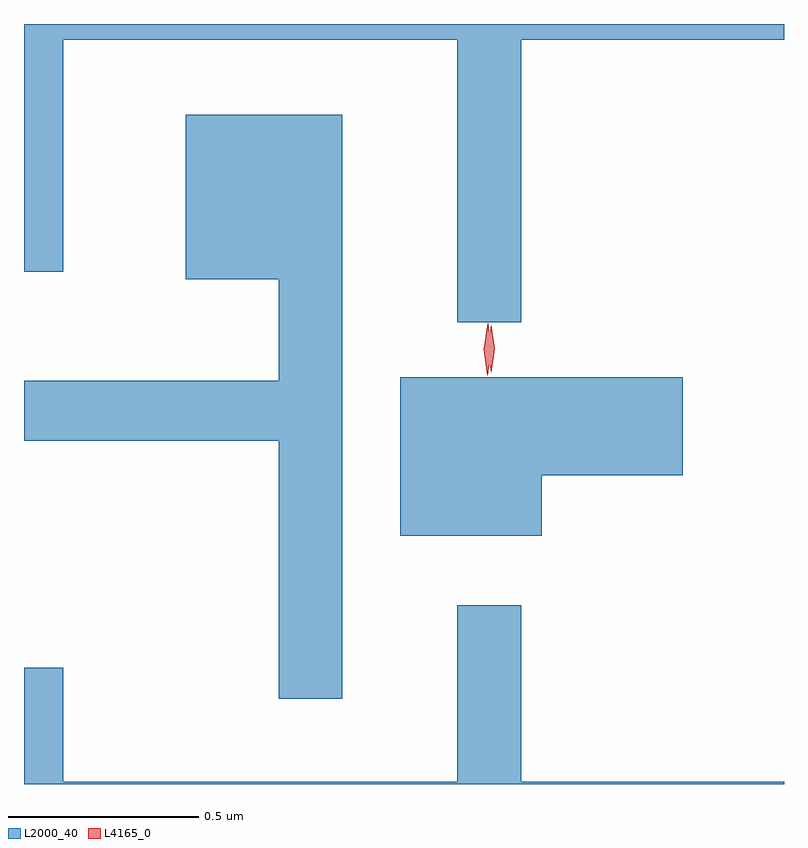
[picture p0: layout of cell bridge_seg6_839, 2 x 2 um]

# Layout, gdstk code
import gdstk
lib = gdstk.Library(unit=1e-6, precision=1e-09)
def P(c, l, *ps):  # polygons
    for p in ps: c.add(gdstk.Polygon(p, *l))
L2000_40 = (2000, 40)
L4165_0 = (4165, 0)

bridge_seg6_839 = lib.new_cell('bridge_seg6_839')
P(bridge_seg6_839, L2000_40, [(576.189,1598.876),(576.881,1598.876),(576.881,1598.918),(574.881,1598.918),(574.881,1598.266),(574.984,1598.266),(574.984,1598.876),(576.021,1598.876),(576.021,1598.133),(576.189,1598.133)],
  [(575.719,1598.679),(575.306,1598.679),(575.306,1598.246),(575.551,1598.246),(575.551,1597.979),(574.881,1597.979),(574.881,1597.821),(575.551,1597.821),(575.551,1597.143),(575.719,1597.143)],
  [(576.244,1597.731),(576.614,1597.731),(576.614,1597.989),(575.871,1597.989),(575.871,1597.571),(576.244,1597.571)],
  [(576.881,1596.924),(576.189,1596.924),(576.189,1597.388),(576.021,1597.388),(576.021,1596.924),(574.984,1596.924),(574.984,1597.224),(574.881,1597.224),(574.881,1596.918),(576.881,1596.918)])
P(bridge_seg6_839, L4165_0, [(576.11,1598),(576.11,1598),(576.1,1598.063),(576.11,1598.126),(576.11,1598.127),(576.11,1598.126),(576.12,1598.063),(576.111,1598)],
  [(576.1,1597.994),(576.091,1598.062),(576.102,1598.13),(576.102,1598.13),(576.103,1598.13),(576.111,1598.062),(576.101,1597.994),(576.101,1597.994)])

lib.write_gds('bridge_seg6_839.gds')
